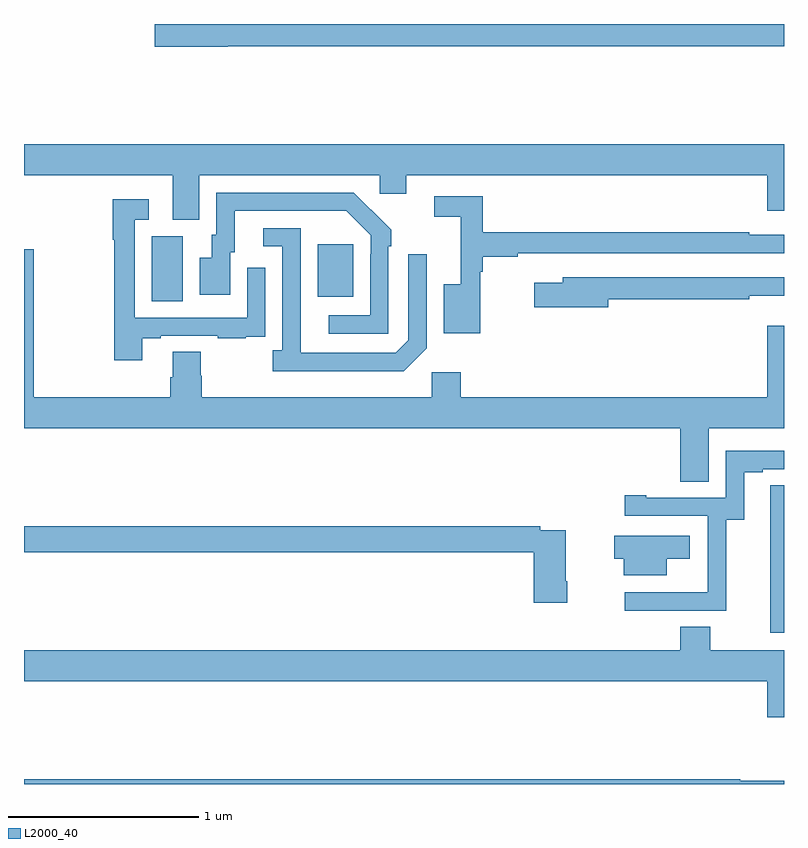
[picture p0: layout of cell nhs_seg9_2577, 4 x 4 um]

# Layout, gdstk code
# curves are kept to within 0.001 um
import gdstk
lib = gdstk.Library(unit=1e-6, precision=1e-09)
def R(c, l, rs):  # rectangles x0, y0, x1, y1
    for r in rs: c.add(gdstk.rectangle(r[:2], r[2:], *l))
def P(c, l, *ps):  # polygons
    for p in ps: c.add(gdstk.Polygon(p, *l))
L2000_40 = (2000, 40)

nhs_seg9_2577 = lib.new_cell('nhs_seg9_2577')
R(nhs_seg9_2577, L2000_40, [(257.672,1245.04,257.836,1245.384), (258.545,1245.065,258.733,1245.34)])
P(nhs_seg9_2577, L2000_40, [(258.072,1246.384),(261,1246.384),(261,1246.5),(257.688,1246.5),(257.688,1246.379),(258.072,1246.379)],
  [(257.923,1245.704),(258.873,1245.704),(258.873,1245.606),(259.012,1245.606),(259.012,1245.704),(260.912,1245.704),(260.912,1245.516),(261,1245.516),(261,1245.868),(257,1245.868),(257,1245.704),(257.783,1245.704),(257.783,1245.469),(257.923,1245.469)],
  [(258.918,1245.329),(258.933,1245.329),(258.933,1245.417),(258.736,1245.612),(258.012,1245.612),(258.012,1245.39),(257.987,1245.39),(257.987,1245.271),(257.924,1245.271),(257.924,1245.075),(258.085,1245.075),(258.085,1245.3),(258.109,1245.3),(258.109,1245.516),(258.697,1245.516),(258.825,1245.387),(258.825,1245.287),(258.822,1245.287),(258.822,1244.967),(258.603,1244.967),(258.603,1244.871),(258.918,1244.871)],
  [(259.4,1245.197),(259.415,1245.197),(259.415,1245.274),(259.598,1245.274),(259.598,1245.294),(261,1245.294),(261,1245.39),(260.816,1245.39),(260.816,1245.403),(259.415,1245.403),(259.415,1245.594),(259.158,1245.594),(259.158,1245.486),(259.298,1245.486),(259.298,1245.13),(259.208,1245.13),(259.208,1244.873),(259.4,1244.873)],
  [(257.623,1244.847),(257.719,1244.847),(257.719,1244.859),(258.019,1244.859),(258.019,1244.847),(258.167,1244.847),(258.167,1244.853),(258.269,1244.853),(258.269,1244.962),(258.27,1244.962),(258.27,1245.217),(258.174,1245.217),(258.174,1244.955),(257.583,1244.955),(257.583,1245.471),(257.656,1245.471),(257.656,1245.577),(257.467,1245.577),(257.467,1245.364),(257.475,1245.364),(257.475,1244.73),(257.623,1244.73)],
  [(259.119,1244.793),(259.119,1245.289),(259.023,1245.289),(259.023,1244.835),(258.957,1244.769),(258.457,1244.769),(258.456,1245.426),(258.258,1245.426),(258.258,1245.33),(258.36,1245.33),(258.36,1244.782),(258.309,1244.782),(258.309,1244.672),(258.998,1244.672)],
  [(260.605,1244.372),(261,1244.372),(261,1244.911),(260.912,1244.911),(260.912,1244.536),(259.298,1244.536),(259.298,1244.668),(259.146,1244.668),(259.146,1244.536),(257.936,1244.536),(257.936,1244.649),(257.931,1244.649),(257.931,1244.774),(257.783,1244.774),(257.783,1244.642),(257.771,1244.642),(257.771,1244.536),(257.052,1244.536),(257.052,1245.315),(257,1245.315),(257,1244.372),(260.453,1244.372),(260.453,1244.092),(260.605,1244.092)],
  [(260.074,1245.052),(260.816,1245.052),(260.816,1245.071),(261,1245.071),(261,1245.168),(259.835,1245.168),(259.835,1245.139),(259.686,1245.139),(259.686,1245.01),(260.074,1245.01)],
  [(260.697,1243.891),(260.791,1243.891),(260.791,1244.142),(260.887,1244.142),(260.887,1244.157),(261,1244.157),(261,1244.253),(260.694,1244.253),(260.694,1244.007),(260.275,1244.007),(260.275,1244.02),(260.163,1244.02),(260.163,1243.911),(260.598,1243.911),(260.598,1243.51),(260.597,1243.51),(260.597,1243.509),(260.163,1243.509),(260.163,1243.413),(260.697,1243.413)],
  [(261,1244.072),(260.928,1244.072),(260.928,1243.964),(260.927,1243.964),(260.927,1243.296),(261,1243.296)],
  [(259.86,1243.567),(259.852,1243.567),(259.852,1243.836),(259.718,1243.836),(259.718,1243.856),(257,1243.856),(257,1243.72),(259.682,1243.72),(259.682,1243.455),(259.86,1243.455)],
  [(260.383,1243.685),(260.503,1243.685),(260.503,1243.807),(260.106,1243.807),(260.106,1243.685),(260.156,1243.685),(260.156,1243.598),(260.383,1243.598)],
  [(261,1243.204),(260.613,1243.204),(260.613,1243.328),(260.453,1243.328),(260.453,1243.204),(257,1243.204),(257,1243.04),(260.912,1243.04),(260.912,1242.852),(261,1242.852)],
  [(261,1242.517),(260.77,1242.517),(260.77,1242.524),(257,1242.524),(257,1242.5),(261,1242.5)])

lib.write_gds('nhs_seg9_2577.gds')
